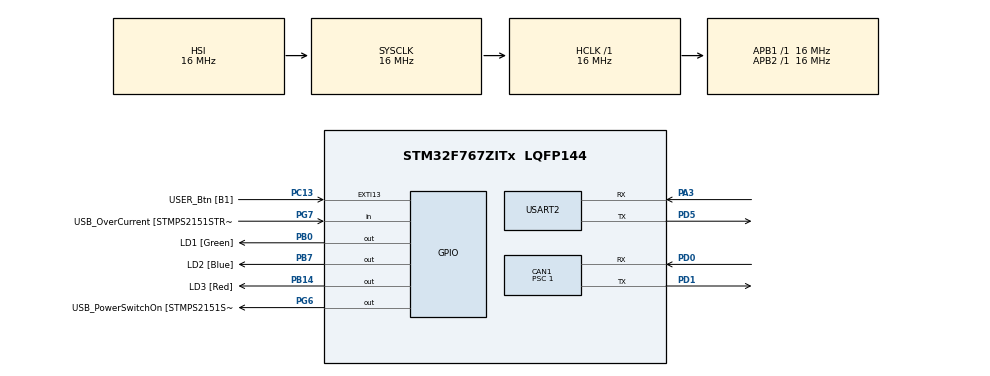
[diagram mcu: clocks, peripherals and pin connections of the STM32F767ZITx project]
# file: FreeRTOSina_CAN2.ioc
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CAN1.ABOM=ENABLE
CAN1.BS1=CAN_BS1_13TQ
CAN1.BS2=CAN_BS2_2TQ
CAN1.CalculateBaudRate=1000000
CAN1.CalculateTimeBit=1000
CAN1.CalculateTimeQuantum=62.5
CAN1.Mode=CAN_MODE_NORMAL
CAN1.NART=ENABLE
CAN1.Prescaler=1
CAN1.TXFP=ENABLE
Mcu.Family=STM32F7
Mcu.Name=STM32F767ZITx
Mcu.Package=LQFP144
NVIC.CAN1_RX0_IRQn=true\:0\:0\:false\:false\:true\:true\:true\:true
NVIC.CAN1_SCE_IRQn=true\:0\:0\:false\:false\:true\:true\:true\:true
NVIC.EXTI15_10_IRQn=true\:0\:0\:false\:false\:true\:true\:true\:true
NVIC.PriorityGroup=NVIC_PRIORITYGROUP_4
NVIC.TIM1_UP_TIM10_IRQn=true\:0\:0\:false\:false\:true\:true\:true\:true
NVIC.USART2_IRQn=true\:0\:0\:false\:false\:true\:true\:true\:true
PA1.GPIO_Label=RMII_REF_CLK [LAN8742A-CZ-TR_REFCLK0]
PA1.Signal=ETH_REF_CLK
PA10.GPIO_Label=USB_ID
PA10.Signal=USB_OTG_FS_ID
PA11.GPIO_Label=USB_DM
PA11.Signal=USB_OTG_FS_DM
PA12.GPIO_Label=USB_DP
PA12.Signal=USB_OTG_FS_DP
PA13.GPIO_Label=TMS
PA13.Mode=Serial_Wire
PA13.Signal=SYS_JTMS-SWDIO
PA14.GPIO_Label=TCK
PA14.Mode=Serial_Wire
PA14.Signal=SYS_JTCK-SWCLK
PA2.GPIO_Label=RMII_MDIO [LAN8742A-CZ-TR_MDIO]
PA2.Signal=ETH_MDIO
PA3.Mode=Asynchronous
PA3.Signal=USART2_RX
PA7.GPIO_Label=RMII_CRS_DV [LAN8742A-CZ-TR_CRS_DV]
PA7.Signal=ETH_CRS_DV
PA8.GPIO_Label=USB_SOF [TP1]
PA8.Signal=USB_OTG_FS_SOF
PA9.GPIO_Label=USB_VBUS
PA9.Signal=USB_OTG_FS_VBUS
PB0.GPIO_Label=LD1 [Green]
PB0.Signal=GPIO_Output
PB13.GPIO_Label=RMII_TXD1 [LAN8742A-CZ-TR_TXD1]
PB13.Signal=ETH_TXD1
PB14.GPIO_Label=LD3 [Red]
PB14.Signal=GPIO_Output
PB3.GPIO_Label=SW0
PB3.Signal=SYS_JTDO-SWO
PB7.GPIO_Label=LD2 [Blue]
PB7.Signal=GPIO_Output
PC1.GPIO_Label=RMII_MDC [LAN8742A-CZ-TR_MDC]
PC1.Signal=ETH_MDC
PC13.GPIO_Label=USER_Btn [B1]
PC13.Signal=GPXTI13
PC14/OSC32_IN.Signal=RCC_OSC32_IN
PC15/OSC32_OUT.Signal=RCC_OSC32_OUT
PC4.GPIO_Label=RMII_RXD0 [LAN8742A-CZ-TR_RXD0]
PC4.Signal=ETH_RXD0
PC5.GPIO_Label=RMII_RXD1 [LAN8742A-CZ-TR_RXD1]
PC5.Signal=ETH_RXD1
PD0.Mode=CAN_Activate
PD0.Signal=CAN1_RX
PD1.Mode=CAN_Activate
PD1.Signal=CAN1_TX
PD5.Mode=Asynchronous
PD5.Signal=USART2_TX
PD8.GPIO_Label=STLK_RX [STM32F103CBT6_PA3]
PD8.Signal=USART3_TX
PD9.GPIO_Label=STLK_TX [STM32F103CBT6_PA2]
PD9.Signal=USART3_RX
PG11.GPIO_Label=RMII_TX_EN [LAN8742A-CZ-TR_TXEN]
PG11.Signal=ETH_TX_EN
PG13.GPIO_Label=RMII_TXD0 [LAN8742A-CZ-TR_TXD0]
PG13.Signal=ETH_TXD0
PG6.GPIO_Label=USB_PowerSwitchOn [STMPS2151STR_EN]
PG6.Signal=GPIO_Output
PG7.GPIO_Label=USB_OverCurrent [STMPS2151STR_FAULT]
PG7.Signal=GPIO_Input
PH0/OSC_IN.GPIO_Label=MCO [STM32F103CBT6_PA8]
PH0/OSC_IN.Signal=RCC_OSC_IN
PH1/OSC_OUT.Signal=RCC_OSC_OUT
ProjectManager.HeapSize=0x200
ProjectManager.StackSize=0x400
ProjectManager.TargetToolchain=STM32CubeIDE
RCC.48MHZClocksFreq_Value=24000000
RCC.AHBFreq_Value=16000000
RCC.APB1Freq_Value=16000000
RCC.APB1TimFreq_Value=16000000
RCC.APB2Freq_Value=16000000
RCC.APB2TimFreq_Value=16000000
RCC.CortexFreq_Value=16000000
RCC.HCLKFreq_Value=16000000
RCC.HSE_VALUE=16000000
RCC.HSI_VALUE=16000000
RCC.LSE_VALUE=32768
RCC.PLLM=8
RCC.PLLMUL=RCC_PLL_MUL9
RCC.PLLN=96
RCC.PLLP=RCC_PLLP_DIV6
RCC.PRESCALERUSB=RCC_USBCLKSOURCE_PLL_DIV1_5
RCC.SYSCLKFreq_VALUE=16000000
RCC.SYSCLKSourceVirtual=RCC_SYSCLKSOURCE_PLLCLK
RCC.USBFreq_Value=96000000
RCC.VCOOutputFreq_Value=192000000
TIM1.Period=1999
TIM1.Prescaler=15999
USART2.VirtualMode-Asynchronous=VM_ASYNC
VP_TIM1_VS_ClockSourceINT.Mode=Internal
board=NUCLEO-F767ZI

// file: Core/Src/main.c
/* USER CODE BEGIN Header */
/**
  ******************************************************************************
  * @file           : main.c
  * @brief          : Main program body
  ******************************************************************************
  * @attention
  *
  * Copyright (c) 2023 STMicroelectronics.
  * All rights reserved.
  *
  * This software is licensed under terms that can be found in the LICENSE file
  * in the root directory of this software component.
  * If no LICENSE file comes with this software, it is provided AS-IS.
  *
  ******************************************************************************
  */
/* USER CODE END Header */
#include "main.h"
#include "can.h"
#include "tim.h"
#include "usart.h"
#include "gpio.h"

/* USER CODE BEGIN Includes */
#include "ak_drv.h"
#include "stdbool.h"
#include "math.h"
/* USER CODE END Includes */

/* USER CODE BEGIN PD */
#define TABLE_SAMPLING 360
/* USER CODE END PD */

/* USER CODE BEGIN PM */
static inline double ConvertDegreesToRadians (double degree){
 return degree * 3.14f / 180.0;}
/* USER CODE END PM */

/* USER CODE BEGIN PV */
uint32_t TxMailbox = 0;
int runParam = 0;
int sineIndex = 180;
int maxLeftTest, maxRightTest = 0;
CAN_TxHeaderTypeDef TxHeader;
CAN_RxHeaderTypeDef RxHeader;
MotorValues_t RMD_Actuator;

char TxData[8] = {0x80,0x85,0xB5,0x0D,0x03,0xE8,0x03,0xE8};
uint8_t RxData[9] = {0};

char trans_str[100] = {0};

bool buttonIsPressed = 0;
bool isStoped = 0;

int sinTable[TABLE_SAMPLING];
/* USER CODE END PV */

void SystemClock_Config(void);
/* USER CODE BEGIN PFP */

void sinSpin(MotorValues_t* motor){

	comm_can_set_pos_spd(motor->id, sinTable[sineIndex++], 5000, 20000);
	HAL_Delay(10);

		if(isStoped != 1){

			for(uint32_t i = 0; i < 180;i++){
			  comm_can_set_pos_spd(motor->id, i, 50000, 20000);
			  HAL_Delay(50);
			}

		if(sineIndex>= 360) sineIndex = 0;

		for(int deg = 0; deg <= 360;deg++){
		  HAL_Delay(10);
		  comm_can_set_pos_spd(motor->id, deg, 4000, 20000);
			}
		}
}
/* USER CODE END PFP */

/* USER CODE BEGIN 0 */
void HAL_CAN_RxFifo0MsgPendingCallback(CAN_HandleTypeDef *hcan1)
{
  if(HAL_CAN_GetRxMessage(hcan1, CAN_RX_FIFO0, &RxHeader, RxData) == HAL_OK)
    {
	  if(RxHeader.StdId == RMD_Actuator.id){
		motor_receive(&RMD_Actuator, RxData, RxHeader.StdId);
//		sprintf(trans_str, "ID: %d Current: %f Speed: %f Position: %f Temperature: %d \r\n ", RMD_Actuator.id, RMD_Actuator.current, RMD_Actuator.speed, RMD_Actuator.position, RMD_Actuator.temperature);
		sprintf(trans_str, "%f \r\n ", RMD_Actuator.position);
		HAL_UART_Transmit_IT(&huart2, trans_str, strlen(trans_str));
	  	  }
    }
}

void HAL_CAN_ErrorCallback(CAN_HandleTypeDef *hcan)
{
//    uint32_t er = HAL_CAN_GetError(hcan);
//    sprintf(trans_str,"ER CAN %lu %08lX\n", er, er);
//    HAL_UART_Transmit(&huart2, (uint8_t*)trans_str, strlen(trans_str), 100);
}

void HAL_TIM_PeriodElapsedCallback(TIM_HandleTypeDef *htim)
{
        if(htim->Instance == TIM1)
        {
        		buttonIsPressed = 0;

        		HAL_TIM_Base_Stop_IT(&htim1);
        		TIM1->CNT = 0;
        }
}

/* USER CODE END 0 */

int main(void)
{

  /* MCU Configuration--------------------------------------------------------*/

  /* Reset of all peripherals, Initializes the Flash interface and the Systick. */
  HAL_Init();

  /* Configure the system clock */
  SystemClock_Config();

  /* USER CODE BEGIN SysInit */
  __HAL_TIM_CLEAR_FLAG(&htim1, TIM_SR_UIF);
  /* USER CODE END SysInit */

  /* Initialize all configured peripherals */
  MX_GPIO_Init();
  MX_CAN1_Init();
  MX_USART2_UART_Init();
  MX_TIM1_Init();
  /* USER CODE BEGIN 2 */

  HAL_CAN_Stop(&hcan1);

  HAL_CAN_ActivateNotification(&hcan1, CAN_IT_RX_FIFO0_MSG_PENDING | CAN_IT_ERROR | CAN_IT_BUSOFF | CAN_IT_LAST_ERROR_CODE);

  RxData[8] = '\n';

  HAL_CAN_Start(&hcan1);

  motorInit(RMD_Actuator, 0);
  comm_can_set_origin(RMD_Actuator.id, 1);
  HAL_Delay(100);
  comm_can_set_pos(RMD_Actuator.id, 5);
				//  HAL_Delay(2000);
				//  comm_can_set_pos(MOTOR_CAN_ID, -270);
				//  HAL_Delay(2000);
				//  comm_can_set_pos(MOTOR_CAN_ID, -360);

//  double a = 0.0;
//  for (uint32_t i = 0; i < TABLE_SAMPLING; i++){
//	  sinTable[i] = round((sin(ConvertDegreesToRadians(a)) + 1.0) * 180.0);
//	  a += (360.0 / (TABLE_SAMPLING * 1.0));
//  }

  HAL_Delay(100);
  /* USER CODE END 2 */

  /* Infinite loop */
  while (1)
  {
    /* USER CODE BEGIN 3 */

//	  HAL_UART_Transmit_IT(&huart2, (uint8_t*) "Cock and Ball \n", strlen("Cock and Ball \n"));
	 /* if((RMD_Actuator.position > 0) &&(RMD_Actuator.position < 180)){
		  comm_can_set_pos(RMD_Actuator.id, 200);
	  }

	  else{
		  comm_can_set_pos(RMD_Actuator.id, 0);
	  }*/
//	 sinSpin();

  }
  /* USER CODE END 3 */
}

void SystemClock_Config(void)
{
  RCC_OscInitTypeDef RCC_OscInitStruct = {0};
  RCC_ClkInitTypeDef RCC_ClkInitStruct = {0};

  /** Configure the main internal regulator output voltage
  */
  __HAL_RCC_PWR_CLK_ENABLE();
  __HAL_PWR_VOLTAGESCALING_CONFIG(PWR_REGULATOR_VOLTAGE_SCALE3);

  /** Initializes the RCC Oscillators according to the specified parameters
  * in the RCC_OscInitTypeDef structure.
  */
  RCC_OscInitStruct.OscillatorType = RCC_OSCILLATORTYPE_HSI;
  RCC_OscInitStruct.HSIState = RCC_HSI_ON;
  RCC_OscInitStruct.HSICalibrationValue = RCC_HSICALIBRATION_DEFAULT;
  RCC_OscInitStruct.PLL.PLLState = RCC_PLL_NONE;
  if (HAL_RCC_OscConfig(&RCC_OscInitStruct) != HAL_OK)
  {
    Error_Handler();
  }

  /** Initializes the CPU, AHB and APB buses clocks
  */
  RCC_ClkInitStruct.ClockType = RCC_CLOCKTYPE_HCLK|RCC_CLOCKTYPE_SYSCLK
                              |RCC_CLOCKTYPE_PCLK1|RCC_CLOCKTYPE_PCLK2;
  RCC_ClkInitStruct.SYSCLKSource = RCC_SYSCLKSOURCE_HSI;
  RCC_ClkInitStruct.AHBCLKDivider = RCC_SYSCLK_DIV1;
  RCC_ClkInitStruct.APB1CLKDivider = RCC_HCLK_DIV1;
  RCC_ClkInitStruct.APB2CLKDivider = RCC_HCLK_DIV1;

  if (HAL_RCC_ClockConfig(&RCC_ClkInitStruct, FLASH_LATENCY_0) != HAL_OK)
  {
    Error_Handler();
  }
}

/* USER CODE BEGIN 4 */
HAL_GPIO_EXTI_Callback(uint16_t GPIO_Pin){

	if((GPIO_Pin == GPIO_PIN_13) && !buttonIsPressed && !isStoped) {
	HAL_TIM_Base_Start_IT(&htim1);
	buttonIsPressed = 1;

	runParam = 2;
	comm_can_set_pos_spd(RMD_Actuator.id, 0, 50000, 20000);
	isStoped = true;
	}

	if((GPIO_Pin == GPIO_PIN_13) && !buttonIsPressed && isStoped) {
		HAL_TIM_Base_Start_IT(&htim1);
		buttonIsPressed = 1;

		runParam = 0;

		isStoped = false;
	}
}

/* USER CODE END 4 */

void Error_Handler(void)
{
  __disable_irq();
  while (1)
  {
  }
}
